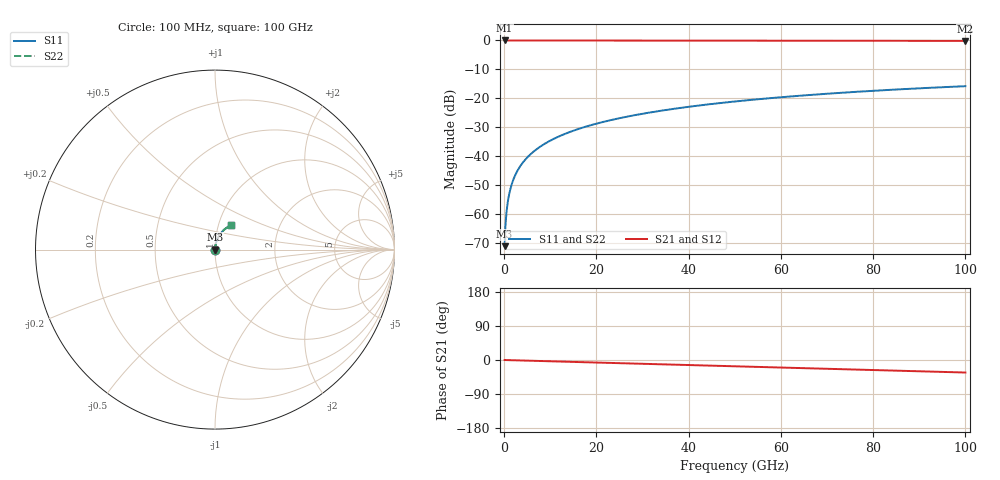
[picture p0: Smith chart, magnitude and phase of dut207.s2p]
! Touchstone file exported from HFSS 2026.1.0
!  File:  C:/ffzhzh/LocalFiles/Ansys_Project_Files/temp_train_TSV_207_1783507574_31944.aedt
!  Generated:  06:47:33 PM Jul  8, 2026
!  Design:  TSV
!  Project:  temp_train_TSV_207_1783507574_31944
! Variables:
!  h_bsmrdl = 2um
!  h_ox = 20um
!  h_rdl = 5um
!  h_sub = 60.1um
!  h_tmrdl = 5um
!  h_tsv = 60.1um
!  h_via = 3um
!  l_bsmrdl = 300um
!  l_sub = 413.92um
!  l_tmrdl = 200um
!  m_sub = 200um
!  pitch = 42.29um
!  r_tsv = 6.96um
!  s_tmrdl = 10um
!  w_bsmrdl = 18um
!  w_sub = 500um
!  w_tmrdl = 12um
!  x_tsv_center1 = 206um
!  x_tsv_center2 = 524um
!  x_tsv_center3 = 736um
!  x_tsv_center4 = 1054um
!  x_tsv_center5 = 1266um
!  x_tsv_center6 = 1584um
# GHz S MA R 50.000000
! Terminal data exported
! Port[1] = TSV1_1_T1
! Port[2] = TSV1_1_T2
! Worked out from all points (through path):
!   1000 points, 100 MHz to 100 GHz, reference 50 ohm
!   highest |S21| = 0.00 dB at 100 MHz (marker M1); lowest = -0.1 dB at 100 GHz (marker M2)
!   group delay of S21, straight-line fit = 918 fs
!   lowest |S11| = -71.0 dB at 100 MHz (marker M3), VSWR 1.00, Z = 50 + j0.022 ohm
!   |S11| at or under -10 dB: start of sweep to end of sweep
!   |S22| runs from -71.0 to -15.8 dB; largest |S21 - S12| = 4.7e-15
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0.1  0.0002827 51.0  0.9998 -0.0  0.9998 -0.0  0.0002827 51.0
! Gamma 0 0 0 0
! Port Impedance 50 0 50 0
0.4  0.0008664 75.4  0.9998 -0.1  0.9998 -0.1  0.0008664 75.4
0.7  0.001458 80.1  0.9998 -0.2  0.9998 -0.2  0.001458 80.1
0.8  0.001656 80.9  0.9997 -0.3  0.9997 -0.3  0.001656 80.9
1.1  0.002247 82.3  0.9997 -0.4  0.9997 -0.4  0.002247 82.3
1.4  0.002834 83.1  0.9997 -0.5  0.9997 -0.5  0.002834 83.1
1.9  0.003799 83.7  0.9996 -0.7  0.9996 -0.7  0.003799 83.7
2.4  0.004748 83.9  0.9996 -0.8  0.9996 -0.8  0.004748 83.9
3  0.005873 84.1  0.9995 -1.0  0.9995 -1.0  0.005873 84.1
3.8  0.007356 84.3  0.9994 -1.3  0.9994 -1.3  0.007356 84.3
4.8  0.009198 84.4  0.9993 -1.6  0.9993 -1.6  0.009198 84.4
6  0.0114 84.4  0.9992 -2.0  0.9992 -2.0  0.0114 84.4
8.8  0.01652 84.1  0.999 -3.0  0.999 -3.0  0.01652 84.1
12.4  0.02305 83.3  0.9987 -4.2  0.9987 -4.2  0.02305 83.3
16.8  0.03097 82.1  0.9983 -5.6  0.9983 -5.6  0.03097 82.1
24.2  0.04417 80.0  0.9976 -8.1  0.9976 -8.1  0.04417 80.0
33.4  0.06032 77.2  0.9965 -11.2  0.9965 -11.2  0.06032 77.2
41.2  0.07374 74.8  0.9954 -13.8  0.9954 -13.8  0.07374 74.8
50.1  0.08869 72.0  0.994 -16.7  0.994 -16.7  0.08869 72.0
66.7  0.1154 66.7  0.991 -22.2  0.991 -22.2  0.1154 66.7
83.4  0.1403 61.3  0.9875 -27.6  0.9875 -27.6  0.1403 61.3
100  0.1627 56.0  0.9838 -33.1  0.9838 -33.1  0.1627 56.0
